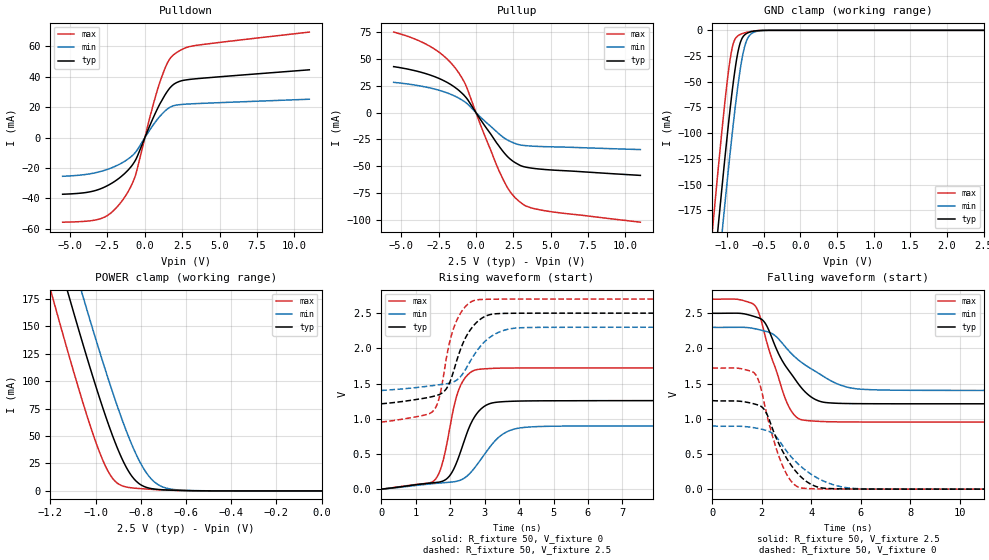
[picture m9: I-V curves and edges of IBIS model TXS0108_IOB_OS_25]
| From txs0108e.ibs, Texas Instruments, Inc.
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[Model]   TXS0108_IOB_OS_25
Model_type  I/O
Vinl=0.7
Vinh=1.7
Enable   Active-Low
Vref =   0
Rref =   1000000
Cref =   15p
Vmeas =   1.25
| variable   typ   min   max
C_comp   4.17pF   3.77pF   4.50pF
| C_pullup   4.19pF   3.30pF   5.40pF
| C_pulldown   4.73pF   4.18pF   5.51pF
| C_tri-state   4.17pF   3.77pF   4.50pF
[Temperature Range]   40   100   -40
| Ambient temperature   25   85   -40
[Voltage range]   2.5   2.3   2.7
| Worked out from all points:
|   slope of the pulldown table from 0 to 0.375 V, typ, clamps not added: 42.1 ohm
|   slope of the pullup table from 0 to 0.375 V, typ, clamps not added: 47.5 ohm
|   GND clamp passes 1 mA (typ) near -0.65 V on its own axis
|   POWER clamp passes 1 mA (typ) near -0.70 V on its own axis
|   rising waveform, R_fixture 50, V_fixture 0: 20-80 % time 616ps typ, 896ps min, 465ps max; typ from 0.001 V to 1.26 V
|   falling waveform, R_fixture 50, V_fixture 2.5: 20-80 % time 1.23ns typ, 1.87ns min, 920ps max; typ from 2.5 V to 1.21 V
|   rising waveform, R_fixture 50, V_fixture 2.5: 20-80 % time 615ps typ, 792ps min, 466ps max; typ from 1.21 V to 2.5 V
|   falling waveform, R_fixture 50, V_fixture 0: 20-80 % time 1.1ns typ, 1.5ns min, 822ps max; typ from 1.26 V to 0.001 V
[GND Clamp]
| TXS0108_IOB_OS_25
|   Voltage   I(typ)   I(min)   I(max)
-5.5V     -3.818A    -3.833A    -3.807A
-1.205V   -255mA     -299.8mA   -199.4mA
-1.18V    -235.8mA   -280.7mA   -180mA
-1.115V   -186.7mA   -231.8mA   -130.7mA
-1.06V    -146.4mA   -191.3mA   -90.89mA
-995mV    -100.8mA   -144.9mA   -48.2mA
-945mV    -68.45mA   -110.8mA   -22.63mA
-905mV    -45.36mA   -85.01mA   -10.83mA
-855mV    -22.5mA    -55.68mA   -5.549mA
-765mV    -4.769mA   -17.26mA   -2.545mA
-675mV    -1.388mA   -3.68mA    -1.111mA
2.5V      99.01pA    69.05nA    73.76pA
[POWER Clamp]
| TXS0108_IOB_OS_25
|   Voltage   I(typ)   I(min)   I(max)
-5.5V     3.692A     3.704A     3.7A
-1.2V     237.8mA    281.5mA    184.1mA
-1.175V   219.3mA    263.1mA    165.5mA
-1.11V    172.1mA    216mA      118.1mA
-1.06V    136.8mA    180.5mA    83.33mA
-980mV    83.42mA    125.7mA    34.17mA
-925mV    50.55mA    90.34mA    11.63mA
-835mV    12.28mA    40.05mA    2.674mA
-785mV    4.005mA    19.62mA    1.857mA
-740mV    1.718mA    8.258mA    1.311mA
-620mV    423.7uA    670.1uA    303.8uA
0V        0A         0A         0A
[Pulldown]
| TXS0108_IOB_OS_25
|   Voltage   I(typ)   I(min)   I(max)
-5.5V     -37.26mA   -25.45mA   -55.63mA
-2.835V   -33.15mA   -21.93mA   -52.88mA
-2.1V     -29.31mA   -19.38mA   -48.07mA
-1.335V   -23.47mA   -15.49mA   -38.98mA
-915mV    -19.03mA   -12.51mA   -31.74mA
-610mV    -14.52mA   -9.483mA   -24.25mA
430mV     10.11mA    6.478mA    16.87mA
1.035V    22.68mA    14.32mA    37.34mA
1.535V    30.84mA    19mA       49.56mA
1.98V     35.35mA    21.1mA     54.9mA
3.315V    38.57mA    22.28mA    60.43mA
11V       44.55mA    25.22mA    69.36mA
[Pullup]
| TXS0108_IOB_OS_25
|   Voltage   I(typ)   I(min)   I(max)
-5.5V     42.55mA    27.97mA    74.57mA
-2.99V    34.41mA    22.51mA    60.71mA
-2.045V   28.81mA    18.78mA    51.17mA
-1.295V   22.23mA    14.43mA    39.68mA
-635mV    13.52mA    8.77mA     24.04mA
510mV     -10.63mA   -6.89mA    -18.64mA
1.805V    -35.91mA   -22.71mA   -61.55mA
2.36V     -43.9mA    -27.16mA   -74.7mA
3.01V     -49.32mA   -30.16mA   -83.61mA
3.57V     -51.23mA   -30.98mA   -87.8mA
4.65V     -52.88mA   -31.67mA   -91.14mA
11V       -58.28mA   -34.35mA   -101.7mA
[Ramp]
| TXS0108_IOB_OS_25
| variable   typ   min   max
dV/dt_r   0.75/6.18E-10   0.54/8.97E-10   1.03/4.72E-10
dV/dt_f   0.77/1.23E-09   0.54/1.87E-09   1.05/9.24E-10
R_load = 50
[Rising Waveform]
| TXS0108_IOB_OS_25
R_fixture =   50
C_fixture =   0
L_fixture =   0
V_fixture =   0
V_fixture_min = 0
V_fixture_max = 0
|   Time   V(typ)   V(min)   V(max)
0s        1.319mV    1.032mV    1.654mV
1.58ns    95.3mV     83mV       146.7mV
1.795ns   117.8mV    92.11mV    408.4mV
2.025ns   219.6mV    101.1mV    965.4mV
2.245ns   455.2mV    120.6mV    1.407V
2.47ns    774.8mV    179.7mV    1.605V
2.775ns   1.075V     346.4mV    1.698V
3.495ns   1.242V     771mV      1.72V
4.315ns   1.254V     884.4mV    1.722V
19.96ns   1.258V     899mV      1.722V
[Falling Waveform]
| TXS0108_IOB_OS_25
R_fixture =   50
C_fixture =   0
L_fixture =   0
V_fixture =   2.5
V_fixture_min = 2.3
V_fixture_max = 2.7
|   Time   V(typ)   V(min)   V(max)
0s        2.5V       2.3V       2.7V
1.74ns    2.448V     2.277V     2.599V
1.92ns    2.426V     2.263V     2.46V
2.16ns    2.343V     2.242V     2.142V
2.97ns    1.744V     2.013V     1.267V
3.27ns    1.598V     1.9V       1.071V
3.59ns    1.444V     1.805V     988.2mV
4.39ns    1.244V     1.625V     962.4mV
6.025ns   1.215V     1.42V      954.5mV
19.96ns   1.213V     1.403V     953.6mV
[Rising Waveform]
| TXS0108_IOB_OS_25
R_fixture =   50
C_fixture =   0
L_fixture =   0
V_fixture =   2.5
V_fixture_min = 2.3
V_fixture_max = 2.7
|   Time   V(typ)   V(min)   V(max)
0s        1.213V     1.403V     953.6mV
1.525ns   1.321V     1.474V     1.122V
1.695ns   1.347V     1.485V     1.324V
1.875ns   1.418V     1.496V     1.826V
2.13ns    1.727V     1.532V     2.326V
2.42ns    2.126V     1.68V      2.582V
2.755ns   2.363V     1.951V     2.688V
3.315ns   2.491V     2.207V     2.699V
4.07ns    2.499V     2.293V     2.7V
19.96ns   2.5V       2.3V       2.7V
[Falling Waveform]
| TXS0108_IOB_OS_25
R_fixture =   50
C_fixture =   0
L_fixture =   0
V_fixture =   0
V_fixture_min = 0
V_fixture_max = 0
|   Time   V(typ)   V(min)   V(max)
0s        1.258V     899mV      1.722V
1.745ns   1.206V     869.9mV    1.629V
1.93ns    1.183V     857.3mV    1.475V
2.15ns    1.103V     838.1mV    1.14V
2.78ns    580.5mV    650.6mV    383.2mV
3.155ns   356.2mV    473.4mV    128.2mV
3.55ns    186.3mV    332.3mV    21.03mV
4.32ns    25.76mV    145.7mV    4.793mV
5.765ns   3.507mV    10.57mV    1.98mV
19.96ns   1.319mV    1.033mV    1.655mV
